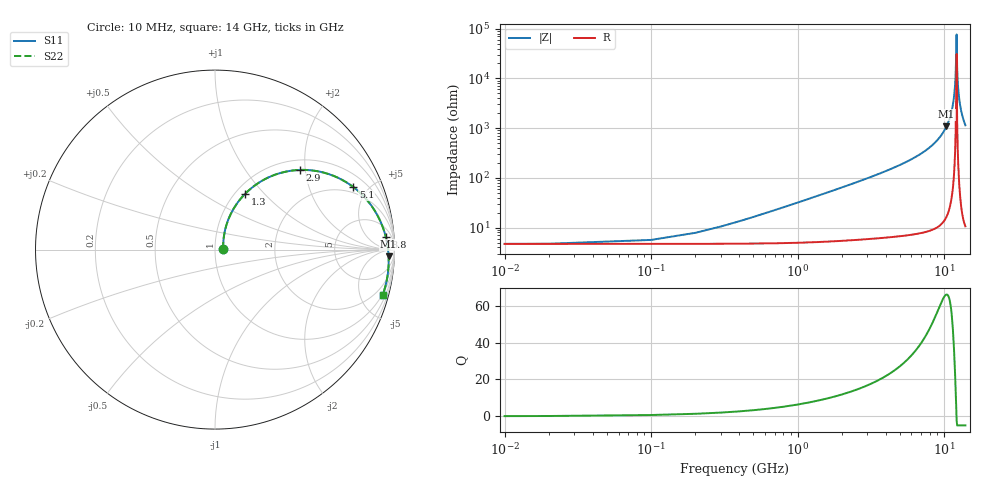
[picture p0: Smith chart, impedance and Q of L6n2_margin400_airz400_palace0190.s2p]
! Created with skrf 2.2.0 (http://scikit-rf.org).
# GHz S DB R 50.0
! Port[1] = P1
! Port[2] = P2
!freq dBS11 angS11 dBS21 angS21 dBS12 angS12 dBS22 angS22
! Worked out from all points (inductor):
!   142 points, 10 MHz to 14 GHz, reference 50 ohm
!   read as one part in series: L = 4.97 nH near 500 MHz
!   highest Q = 66 at 10.4 GHz (marker M1), where L = 16.6 nH
!   self-resonance near 12.1 GHz
!   S11 on the Smith chart (normalised r, x): 10 MHz: 1.09, +0.01; 1.3 GHz: 1.11, +0.78; 2.9 GHz: 1.22, +1.86; 5.1 GHz: 1.63, +4.00; 8.8 GHz: 12, +19; 14 GHz: 0.93, -7.48
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0.01  -26.97 3.3  -0.40 -0.2  -0.40 -0.2  -26.97 3.3
0.6  -15.32 65.9  -0.58 -10.8  -0.58 -10.8  -15.32 65.9
1.3  -9.10 61.8  -1.11 -22.3  -1.11 -22.3  -9.10 61.8
2.4  -4.85 48.8  -2.39 -37.8  -2.39 -37.8  -4.85 48.8
2.9  -3.78 43.3  -3.10 -43.8  -3.10 -43.8  -3.78 43.3
4.7  -1.71 27.3  -6.03 -60.8  -6.03 -60.8  -1.71 27.3
5.1  -1.46 24.4  -6.73 -63.9  -6.73 -63.9  -1.46 24.4
7.1  -0.70 12.4  -10.64 -76.4  -10.64 -76.4  -0.70 12.4
8.8  -0.41 4.3  -14.88 -84.7  -14.88 -84.7  -0.41 4.3
9.4  -0.35 1.8  -16.79 -87.3  -16.79 -87.3  -0.35 1.8
10.4  -0.28 -2.2  -20.98 -91.3  -20.98 -91.3  -0.28 -2.2
11.2  -0.25 -5.2  -26.40 -94.2  -26.40 -94.2  -0.25 -5.2
11.7  -0.24 -7.0  -32.77 -95.4  -32.77 -95.4  -0.25 -7.1
11.9  -0.24 -7.8  -37.55 -95.2  -37.55 -95.2  -0.24 -7.8
12  -0.24 -8.1  -41.47 -94.3  -41.47 -94.3  -0.24 -8.1
12.1  -0.24 -8.5  -48.73 -90.1  -48.73 -90.1  -0.24 -8.5
12.2  -0.24 -8.8  -57.99 57.4  -57.99 57.4  -0.24 -8.8
12.3  -0.24 -9.2  -44.55 76.1  -44.55 76.1  -0.24 -9.2
12.4  -0.24 -9.5  -39.46 78.0  -39.46 78.0  -0.24 -9.5
12.6  -0.24 -10.2  -33.97 78.5  -33.97 78.5  -0.25 -10.2
13.1  -0.25 -12.0  -27.31 77.5  -27.31 77.5  -0.25 -12.0
14  -0.28 -15.0  -21.57 74.7  -21.57 74.7  -0.28 -15.0
